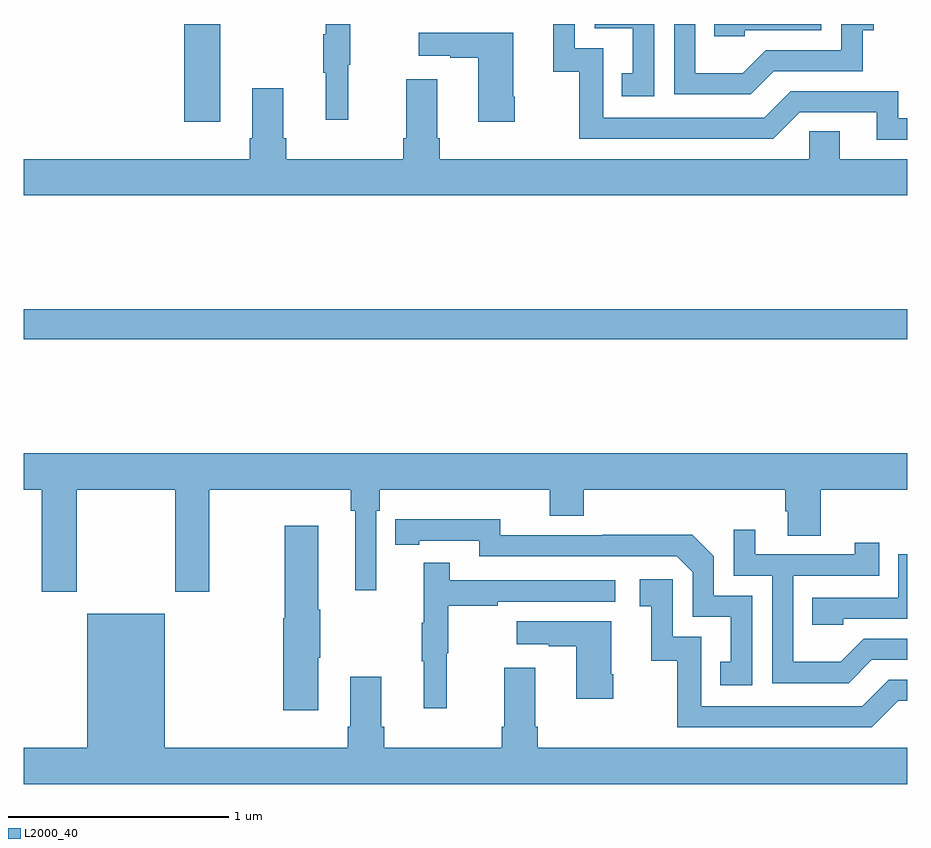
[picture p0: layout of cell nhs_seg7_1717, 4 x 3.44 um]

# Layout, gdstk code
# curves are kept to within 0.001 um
import gdstk
lib = gdstk.Library(unit=1e-6, precision=1e-09)
def R(c, l, rs):  # rectangles x0, y0, x1, y1
    for r in rs: c.add(gdstk.rectangle(r[:2], r[2:], *l))
def P(c, l, *ps):  # polygons
    for p in ps: c.add(gdstk.Polygon(p, *l))
L2000_40 = (2000, 40)

nhs_seg7_1717 = lib.new_cell('nhs_seg7_1717')
R(nhs_seg7_1717, L2000_40, [(227,1058.572,231,1058.708), (227.726,1059.558,227.89,1060)])
P(nhs_seg7_1717, L2000_40, [(231,1059.573),(230.958,1059.573),(230.958,1059.696),(230.472,1059.696),(230.352,1059.576),(229.623,1059.576),(229.623,1059.891),(229.494,1059.891),(229.494,1060),(229.397,1060),(229.397,1059.783),(229.515,1059.783),(229.515,1059.48),(230.394,1059.48),(230.514,1059.6),(230.861,1059.6),(230.861,1059.477),(231,1059.477)],
  [(229.854,1060),(229.584,1060),(229.584,1059.981),(229.757,1059.981),(229.757,1059.777),(229.708,1059.777),(229.708,1059.672),(229.854,1059.672)],
  [(230.265,1059.972),(230.61,1059.972),(230.61,1060),(230.125,1060),(230.125,1059.945),(230.265,1059.945)],
  [(230.395,1059.786),(230.799,1059.786),(230.799,1059.971),(230.848,1059.971),(230.848,1060),(230.7,1060),(230.7,1059.882),(230.358,1059.882),(230.254,1059.778),(230.04,1059.778),(230.04,1060),(229.944,1060),(229.944,1059.681),(230.29,1059.681)],
  [(228.47,1059.816),(228.478,1059.816),(228.478,1060),(228.368,1060),(228.368,1059.953),(228.357,1059.953),(228.357,1059.779),(228.368,1059.779),(228.368,1059.567),(228.47,1059.567)],
  [(229.224,1059.67),(229.216,1059.67),(229.216,1059.961),(228.789,1059.961),(228.789,1059.857),(228.932,1059.857),(228.932,1059.847),(229.058,1059.847),(229.058,1059.558),(229.224,1059.558)],
  [(231,1059.388),(230.695,1059.388),(230.695,1059.515),(230.556,1059.515),(230.556,1059.388),(228.884,1059.388),(228.884,1059.484),(228.871,1059.484),(228.871,1059.751),(228.731,1059.751),(228.731,1059.484),(228.719,1059.484),(228.719,1059.388),(228.188,1059.388),(228.188,1059.484),(228.175,1059.484),(228.175,1059.709),(228.035,1059.709),(228.035,1059.484),(228.023,1059.484),(228.023,1059.388),(227,1059.388),(227,1059.224),(231,1059.224)],
  [(227,1057.892),(227.081,1057.892),(227.081,1057.431),(227.241,1057.431),(227.241,1057.892),(227.686,1057.892),(227.686,1057.431),(227.841,1057.431),(227.841,1057.892),(228.481,1057.892),(228.481,1057.796),(228.5,1057.796),(228.5,1057.437),(228.597,1057.437),(228.597,1057.796),(228.611,1057.796),(228.611,1057.892),(229.382,1057.892),(229.382,1057.775),(229.535,1057.775),(229.535,1057.892),(230.447,1057.892),(230.447,1057.794),(230.459,1057.794),(230.459,1057.684),(230.607,1057.684),(230.607,1057.892),(231,1057.892),(231,1058.056),(227,1058.056)],
  [(230.298,1057.413),(230.124,1057.413),(230.124,1057.59),(230.026,1057.688),(229.618,1057.688),(229.618,1057.686),(229.158,1057.686),(229.158,1057.759),(228.682,1057.758),(228.682,1057.642),(228.79,1057.642),(228.79,1057.662),(229.062,1057.662),(229.062,1057.59),(229.956,1057.59),(230.028,1057.518),(230.028,1057.317),(230.201,1057.317),(230.201,1057.113),(230.152,1057.113),(230.152,1057.008),(230.298,1057.008)],
  [(228.334,1057.132),(228.342,1057.132),(228.342,1057.349),(228.334,1057.349),(228.334,1057.729),(228.181,1057.729),(228.181,1057.311),(228.176,1057.311),(228.176,1056.894),(228.334,1056.894)],
  [(230.839,1057.122),(231,1057.122),(231,1057.218),(230.802,1057.218),(230.698,1057.114),(230.484,1057.114),(230.484,1057.503),(230.873,1057.503),(230.873,1057.651),(230.762,1057.651),(230.762,1057.599),(230.311,1057.599),(230.311,1057.711),(230.214,1057.711),(230.214,1057.503),(230.388,1057.503),(230.388,1057.017),(230.734,1057.017)],
  [(230.709,1057.308),(231,1057.308),(231,1057.599),(230.958,1057.599),(230.958,1057.404),(230.569,1057.404),(230.569,1057.281),(230.709,1057.281)],
  [(228.914,1057.152),(228.922,1057.152),(228.922,1057.366),(229.145,1057.366),(229.145,1057.386),(229.678,1057.386),(229.678,1057.482),(228.929,1057.482),(228.929,1057.561),(228.812,1057.561),(228.812,1057.289),(228.801,1057.289),(228.801,1057.115),(228.812,1057.115),(228.812,1056.903),(228.914,1056.903)],
  [(230.958,1056.936),(231,1056.936),(231,1057.032),(230.916,1057.032),(230.796,1056.912),(230.067,1056.912),(230.067,1057.227),(229.938,1057.227),(229.938,1057.486),(229.788,1057.486),(229.788,1057.365),(229.841,1057.365),(229.841,1057.119),(229.959,1057.119),(229.959,1056.816),(230.838,1056.816)],
  [(231,1056.724),(229.328,1056.724),(229.328,1056.82),(229.315,1056.82),(229.315,1057.087),(229.175,1057.087),(229.175,1056.82),(229.163,1056.82),(229.163,1056.724),(228.632,1056.724),(228.632,1056.82),(228.619,1056.82),(228.619,1057.045),(228.479,1057.045),(228.479,1056.82),(228.467,1056.82),(228.467,1056.724),(227.638,1056.724),(227.638,1057.33),(227.288,1057.33),(227.288,1056.724),(227,1056.724),(227,1056.56),(231,1056.56)],
  [(229.668,1057.057),(229.66,1057.057),(229.66,1057.297),(229.233,1057.297),(229.233,1057.193),(229.376,1057.193),(229.376,1057.183),(229.502,1057.183),(229.502,1056.945),(229.668,1056.945)])

lib.write_gds('nhs_seg7_1717.gds')
